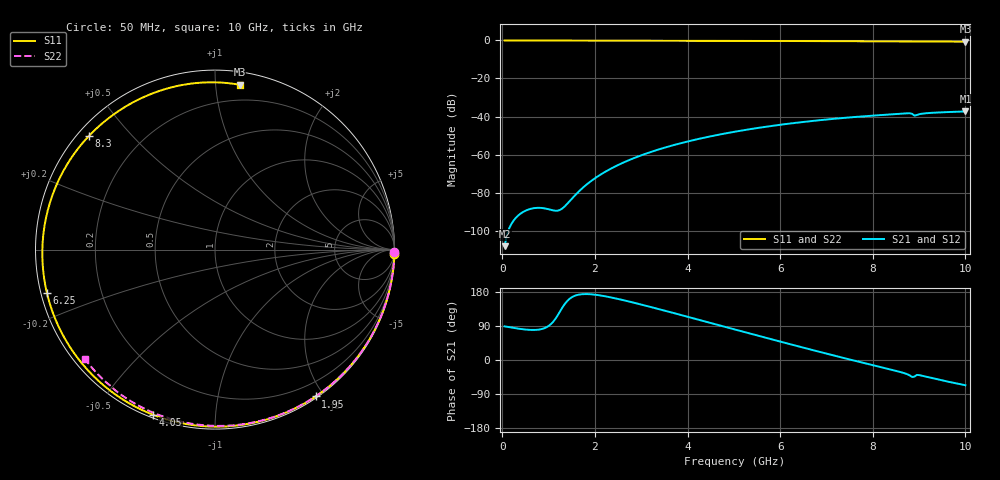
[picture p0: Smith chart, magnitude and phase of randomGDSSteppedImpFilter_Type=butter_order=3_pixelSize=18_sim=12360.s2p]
! freq	dB(S11)	phase(S11)	dB(S12)	phase(S12)
!  dB(S21)	phase(S21)	dB(S22)	phase(S22)
!S-par simulation data
#  GHz  S  DB  R 50
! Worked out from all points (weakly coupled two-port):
!   200 points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, 50 MHz to 10 GHz, reference 50 ohm
!   highest |S21| = -37.34 dB at 10 GHz (marker M1); lowest = -108.2 dB at 50 MHz (marker M2)
!   lowest |S11| = -0.6 dB at 10 GHz (marker M3), VSWR 27.04, Z = 4.33 + j57.8 ohm
!   |S11| at or under -10 dB: nowhere
!   |S22| runs from -0.5 to 0.0 dB; largest |S21 - S12| = 0
!   S11 on the Smith chart (normalised r, x): 50 MHz: 0, -78; 1.95 GHz: 0.02, -1.90; 4.05 GHz: 0.01, -0.69; 6.25 GHz: 0.02, -0.13; 8.3 GHz: 0.03, +0.38; 10 GHz: 0.09, +1.16
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0.05  -0.00 -1.5  -108.20 88.7  -108.20 88.7  -0.00 -0.8
0.8  -0.03 -23.2  -88.02 80.4  -88.02 80.4  -0.02 -12.9
1.6  -0.06 -45.9  -80.71 170.9  -80.71 170.9  -0.03 -25.6
1.65  -0.06 -47.3  -79.49 172.4  -79.49 172.4  -0.03 -26.4
1.75  -0.06 -50.0  -77.23 173.8  -77.23 173.8  -0.04 -27.9
1.95  -0.07 -55.6  -73.36 173.1  -73.36 173.1  -0.04 -31.1
2.25  -0.08 -63.7  -68.70 167.5  -68.70 167.5  -0.05 -35.7
2.6  -0.09 -73.1  -64.39 158.3  -64.39 158.3  -0.05 -41.1
3.4  -0.12 -94.0  -57.16 133.7  -57.16 133.7  -0.07 -53.1
4.05  -0.15 -110.5  -52.86 112.5  -52.86 112.5  -0.09 -62.6
5.05  -0.20 -135.4  -47.87 79.6  -47.87 79.6  -0.12 -76.8
5.65  -0.24 -150.3  -45.54 60.0  -45.54 60.0  -0.14 -85.0
6.25  -0.29 -165.5  -43.58 40.6  -43.58 40.6  -0.17 -93.0
6.7  -0.33 -177.2  -42.33 26.3  -42.33 26.3  -0.19 -98.9
7.5  -0.40 161.2  -40.48 1.4  -40.48 1.4  -0.24 -109.1
8.3  -0.49 138.0  -39.04 -22.6  -39.04 -22.6  -0.30 -119.2
8.35  -0.49 136.5  -38.96 -24.1  -38.96 -24.1  -0.31 -119.8
8.8  -0.54 122.3  -38.29 -40.8  -38.29 -40.8  -0.35 -125.4
8.9  -0.55 119.1  -39.53 -43.9  -39.53 -43.9  -0.39 -126.7
9.25  -0.57 107.5  -38.10 -47.1  -38.10 -47.1  -0.40 -130.8
9.65  -0.60 93.8  -37.64 -57.8  -37.64 -57.8  -0.44 -135.7
10  -0.64 81.5  -37.34 -66.6  -37.34 -66.6  -0.48 -140.0
